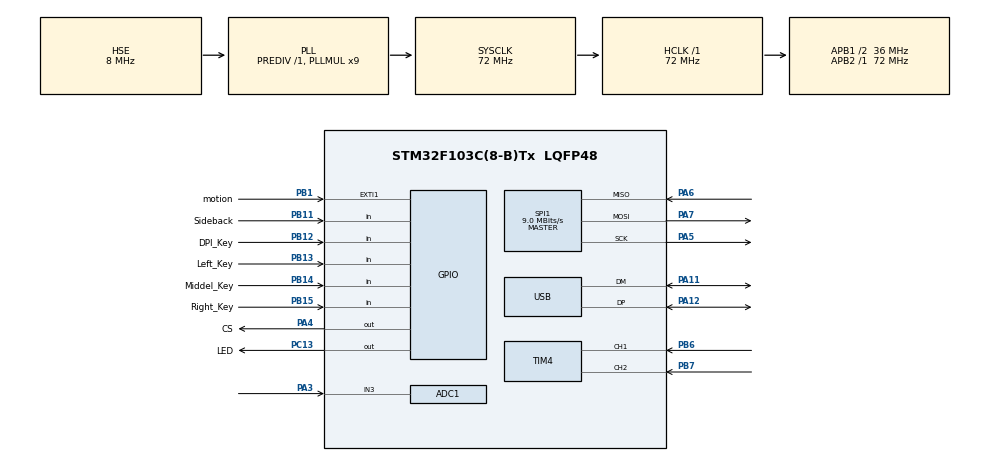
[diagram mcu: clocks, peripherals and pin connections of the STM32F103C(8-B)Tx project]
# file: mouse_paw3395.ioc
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ADC1.Channel-0\#ChannelRegularConversion=ADC_CHANNEL_3
ADC1.ContinuousConvMode=ENABLE
ADC1.NbrOfConversionFlag=1
ADC1.Rank-0\#ChannelRegularConversion=1
ADC1.SamplingTime-0\#ChannelRegularConversion=ADC_SAMPLETIME_1CYCLE_5
ADC1.master=1
Mcu.Family=STM32F1
Mcu.Name=STM32F103C(8-B)Tx
Mcu.Package=LQFP48
NVIC.EXTI1_IRQn=true\:1\:0\:true\:false\:true\:true\:true\:true
NVIC.PriorityGroup=NVIC_PRIORITYGROUP_4
NVIC.TIM3_IRQn=true\:0\:0\:false\:false\:true\:true\:true\:true
NVIC.USB_LP_CAN1_RX0_IRQn=true\:0\:0\:false\:false\:true\:false\:true\:true
PA11.Mode=Device
PA11.Signal=USB_DM
PA12.Mode=Device
PA12.Signal=USB_DP
PA13.Mode=Serial_Wire
PA13.Signal=SYS_JTMS-SWDIO
PA14.Mode=Serial_Wire
PA14.Signal=SYS_JTCK-SWCLK
PA3.Signal=ADCx_IN3
PA4.GPIO_Label=CS
PA4.GPIO_PuPd=GPIO_PULLDOWN
PA4.Signal=GPIO_Output
PA5.Mode=Full_Duplex_Master
PA5.Signal=SPI1_SCK
PA6.Mode=Full_Duplex_Master
PA6.Signal=SPI1_MISO
PA7.Mode=Full_Duplex_Master
PA7.Signal=SPI1_MOSI
PB1.GPIO_Label=motion
PB1.GPIO_ModeDefaultEXTI=GPIO_MODE_IT_FALLING
PB1.GPIO_PuPd=GPIO_PULLUP
PB1.Signal=GPXTI1
PB11.GPIO_Label=Sideback
PB11.GPIO_PuPd=GPIO_PULLUP
PB11.Signal=GPIO_Input
PB12.GPIO_Label=DPI_Key
PB12.GPIO_PuPd=GPIO_PULLUP
PB12.Signal=GPIO_Input
PB13.GPIO_Label=Left_Key
PB13.GPIO_PuPd=GPIO_PULLUP
PB13.Signal=GPIO_Input
PB14.GPIO_Label=Middel_Key
PB14.GPIO_PuPd=GPIO_PULLUP
PB14.Signal=GPIO_Input
PB15.GPIO_Label=Right_Key
PB15.GPIO_PuPd=GPIO_PULLUP
PB15.Signal=GPIO_Input
PB6.Signal=S_TIM4_CH1
PB7.Signal=S_TIM4_CH2
PC13-TAMPER-RTC.GPIO_Label=LED
PC13-TAMPER-RTC.PinState=GPIO_PIN_RESET
PC13-TAMPER-RTC.Signal=GPIO_Output
PD0-OSC_IN.Mode=HSE-External-Oscillator
PD0-OSC_IN.Signal=RCC_OSC_IN
PD1-OSC_OUT.Mode=HSE-External-Oscillator
PD1-OSC_OUT.Signal=RCC_OSC_OUT
ProjectManager.HeapSize=0x200
ProjectManager.StackSize=0x400
ProjectManager.TargetToolchain=MDK-ARM V5.32
RCC.ADCPresc=RCC_ADCPCLK2_DIV6
RCC.AHBFreq_Value=72000000
RCC.APB1CLKDivider=RCC_HCLK_DIV2
RCC.APB1Freq_Value=36000000
RCC.APB1TimFreq_Value=72000000
RCC.APB2Freq_Value=72000000
RCC.APB2TimFreq_Value=72000000
RCC.HCLKFreq_Value=72000000
RCC.PLLMUL=RCC_PLL_MUL9
RCC.SYSCLKFreq_VALUE=72000000
RCC.SYSCLKSource=RCC_SYSCLKSOURCE_PLLCLK
RCC.USBFreq_Value=48000000
RCC.USBPrescaler=RCC_USBCLKSOURCE_PLL_DIV1_5
SH.ADCx_IN3.0=ADC1_IN3,IN3
SH.S_TIM4_CH1.0=TIM4_CH1,Encoder_Interface
SH.S_TIM4_CH2.0=TIM4_CH2,Encoder_Interface
SPI1.BaudRatePrescaler=SPI_BAUDRATEPRESCALER_8
SPI1.CLKPhase=SPI_PHASE_2EDGE
SPI1.CLKPolarity=SPI_POLARITY_HIGH
SPI1.CRCCalculation=SPI_CRCCALCULATION_ENABLE
SPI1.CalculateBaudRate=9.0 MBits/s
SPI1.Direction=SPI_DIRECTION_2LINES
SPI1.Mode=SPI_MODE_MASTER
SPI1.VirtualType=VM_MASTER
TIM3.Period=1000-1
TIM3.Prescaler=72-1
TIM4.EncoderMode=TIM_ENCODERMODE_TI12
USB_DEVICE.CLASS_NAME_FS=HID
USB_DEVICE.HID_FS_BINTERVAL=0x1
USB_DEVICE.VirtualMode=Hid
USB_DEVICE.VirtualModeFS=Hid_FS
VP_TIM3_VS_ClockSourceINT.Mode=Internal
VP_USB_DEVICE_VS_USB_DEVICE_HID_FS.Mode=HID_FS
board=custom

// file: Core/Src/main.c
/* USER CODE BEGIN Header */
/**
  ******************************************************************************
  * @file           : main.c
  * @brief          : Main program body
  ******************************************************************************
  * @attention
  *
  * Copyright (c) 2024 STMicroelectronics.
  * All rights reserved.
  *
  * This software is licensed under terms that can be found in the LICENSE file
  * in the root directory of this software component.
  * If no LICENSE file comes with this software, it is provided AS-IS.
  *
  ******************************************************************************
  */
/* USER CODE END Header */
#include "main.h"
#include "adc.h"
#include "spi.h"
#include "tim.h"
#include "usb_device.h"
#include "gpio.h"

/* USER CODE BEGIN Includes */
#include "usbd_hid.h"
#include "delay.h"
#include "PAW3395.h"
#include "myMouse.h"
#include "Hall.h"
#include "Key.h"
#include "Wheel.h"

//extern USBD_HandleTypeDef hUsbDeviceFS;
/* USER CODE END Includes */

/* USER CODE BEGIN PTD */

#define TASKNUM_MAX	5

typedef struct{
	void (*pTask)(void);
	uint16_t TaskPeriod;
}TaskStruct;

/* USER CODE END PTD */

/* USER CODE BEGIN PD */
uint8_t Key_Read(void);

void Task_Init(void);
void Task_Run(void);

void Mouse_XY_Updata(void);
void Mouse_wheel_Updata(void);
void Show_Task(void);
void LED_Task(void);
/* USER CODE END PD */

/* USER CODE BEGIN PV */

int8_t wheel_num;

composite_hid_report_t hid_report = {0};
uint8_t motion_burst_data[12] = {0};
int16_t X_Speed,Y_Speed;
uint16_t DPI = 1500;
uint32_t SYS_tick_ms;

uint8_t led_flag = 0;
uint8_t Key_cnt = 0;

uint16_t TaskTimer[TASKNUM_MAX];
TaskStruct Task[] = {
	{Key_Task, 20},
	{Mouse_XY_Updata, 1},
	{Mouse_wheel_Updata, 5},
	{trigger, 1},
    {LED_Task, 100}
};

/* USER CODE END PV */

void SystemClock_Config(void);

/* USER CODE BEGIN 0 */

/******************************��ʱ��3�жϻص�����*********************************/
void HAL_TIM_PeriodElapsedCallback(TIM_HandleTypeDef *hitm)
{
	uint8_t i;

	SYS_tick_ms++;

	//HAL_GPIO_WritePin(LED_GPIO_Port, LED_Pin, GPIO_PIN_RESET);
	for(i = 0; i < TASKNUM_MAX; i++){
		if(TaskTimer[i])
			TaskTimer[i]--;
	}
}

/******************************������Ȼ���*********************************/
void Task_Init(void)
{
	uint8_t NTask;
	for(NTask = 0; NTask < sizeof(Task)/sizeof(Task[0]); NTask++){
		TaskTimer[NTask] = Task[NTask].TaskPeriod;
	}
}

void Task_Run(void)
{
	uint8_t NTask;
	for(NTask = 0; NTask < sizeof(Task)/sizeof(Task[0]); NTask++){
		if(TaskTimer[NTask] == 0)
		{
			TaskTimer[NTask] = Task[NTask].TaskPeriod;
			(Task[NTask].pTask)();
		}
	}
}

void LED_Task(void)
{
    static uint32_t LED_tick_ms;
    static uint8_t blink_cnt;

    if(led_flag == 1)
    {
        if(SYS_tick_ms - LED_tick_ms >= 500)
        {
            LED_tick_ms = SYS_tick_ms;
            HAL_GPIO_TogglePin(LED_GPIO_Port, LED_Pin);
            blink_cnt++;
            if(blink_cnt == 6)
            {
                Key_cnt--;
                blink_cnt = 0;
                HAL_GPIO_WritePin(LED_GPIO_Port, LED_Pin, GPIO_PIN_SET);
            }
            if(Key_cnt == 0)
            {
                led_flag = 0;
            }
        }
    }
}

void Mouse_XY_Updata(void)
{
	Motion_Burst(motion_burst_data);

	X_Speed = (int8_t)(motion_burst_data[2] + (motion_burst_data[3] << 8));
	Y_Speed = (int8_t)(motion_burst_data[4] + (motion_burst_data[5] << 8));

	myMouse_update(&hid_report);
}

/* USER CODE END 0 */

int main(void)
{

  /* MCU Configuration--------------------------------------------------------*/

  /* Reset of all peripherals, Initializes the Flash interface and the Systick. */
  HAL_Init();

  /* Configure the system clock */
  SystemClock_Config();

  /* USER CODE BEGIN SysInit */
	delay_init(72);

  /* USER CODE END SysInit */

  /* Initialize all configured peripherals */
  MX_GPIO_Init();
  MX_USB_DEVICE_Init();
  MX_SPI1_Init();
  MX_TIM3_Init();
  MX_ADC1_Init();
  MX_TIM4_Init();
  /* USER CODE BEGIN 2 */

	__HAL_SPI_ENABLE(&hspi1);

    HAL_Delay(100);
	Power_up_sequence();
	DPI_Config(DPI);

	__HAL_TIM_CLEAR_IT(&htim3,TIM_IT_UPDATE );
	HAL_TIM_Base_Start_IT(&htim3);

	Task_Init();

	HAL_TIM_Encoder_Start(&htim4, TIM_CHANNEL_ALL);

  /* USER CODE END 2 */

  /* Infinite loop */
  /* USER CODE BEGIN WHILE */
  while (1)
  {
		Task_Run();
    /* USER CODE END WHILE */

  }
}

void SystemClock_Config(void)
{
  RCC_OscInitTypeDef RCC_OscInitStruct = {0};
  RCC_ClkInitTypeDef RCC_ClkInitStruct = {0};
  RCC_PeriphCLKInitTypeDef PeriphClkInit = {0};

  /** Initializes the RCC Oscillators according to the specified parameters
  * in the RCC_OscInitTypeDef structure.
  */
  RCC_OscInitStruct.OscillatorType = RCC_OSCILLATORTYPE_HSE;
  RCC_OscInitStruct.HSEState = RCC_HSE_ON;
  RCC_OscInitStruct.HSEPredivValue = RCC_HSE_PREDIV_DIV1;
  RCC_OscInitStruct.HSIState = RCC_HSI_ON;
  RCC_OscInitStruct.PLL.PLLState = RCC_PLL_ON;
  RCC_OscInitStruct.PLL.PLLSource = RCC_PLLSOURCE_HSE;
  RCC_OscInitStruct.PLL.PLLMUL = RCC_PLL_MUL9;
  if (HAL_RCC_OscConfig(&RCC_OscInitStruct) != HAL_OK)
  {
    Error_Handler();
  }

  /** Initializes the CPU, AHB and APB buses clocks
  */
  RCC_ClkInitStruct.ClockType = RCC_CLOCKTYPE_HCLK|RCC_CLOCKTYPE_SYSCLK
                              |RCC_CLOCKTYPE_PCLK1|RCC_CLOCKTYPE_PCLK2;
  RCC_ClkInitStruct.SYSCLKSource = RCC_SYSCLKSOURCE_PLLCLK;
  RCC_ClkInitStruct.AHBCLKDivider = RCC_SYSCLK_DIV1;
  RCC_ClkInitStruct.APB1CLKDivider = RCC_HCLK_DIV2;
  RCC_ClkInitStruct.APB2CLKDivider = RCC_HCLK_DIV1;

  if (HAL_RCC_ClockConfig(&RCC_ClkInitStruct, FLASH_LATENCY_2) != HAL_OK)
  {
    Error_Handler();
  }
  PeriphClkInit.PeriphClockSelection = RCC_PERIPHCLK_ADC|RCC_PERIPHCLK_USB;
  PeriphClkInit.AdcClockSelection = RCC_ADCPCLK2_DIV6;
  PeriphClkInit.UsbClockSelection = RCC_USBCLKSOURCE_PLL_DIV1_5;
  if (HAL_RCCEx_PeriphCLKConfig(&PeriphClkInit) != HAL_OK)
  {
    Error_Handler();
  }
}

void Error_Handler(void)
{
  __disable_irq();
  while (1)
  {
  }
}
